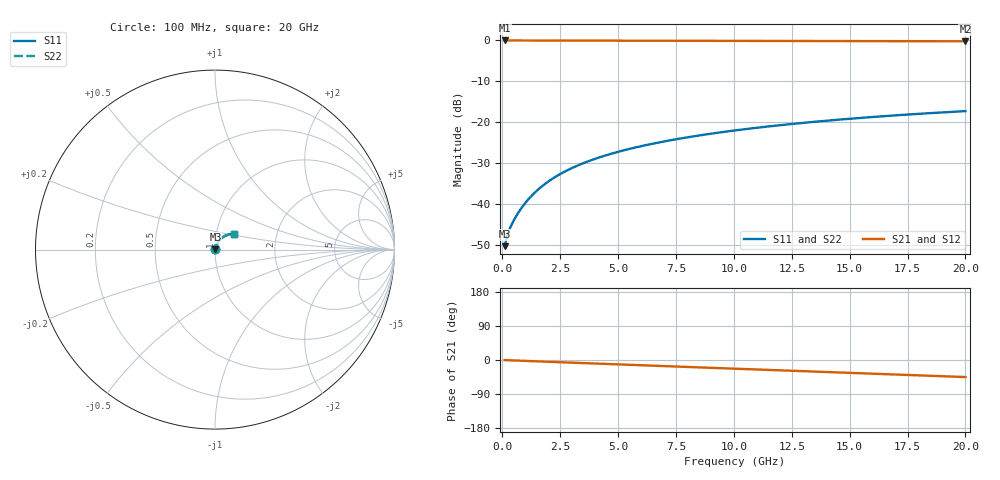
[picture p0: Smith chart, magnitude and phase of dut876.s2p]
! Touchstone file exported from HFSS 2026.1.0
!  File:  C:/ffzhzh/LocalFiles/Ansys_Project_Files/temp_train_TMRDL_876_1783157399_55132.aedt
!  Generated:  05:31:11 PM Jul  4, 2026
!  Design:  TMRDL
!  Project:  temp_train_TMRDL_876_1783157399_55132
! Variables:
!  h_bsmrdl = 2um
!  h_ox = 20um
!  h_rdl = 5um
!  h_sub = 80um
!  h_tmrdl = 4.53um
!  h_tsv = 80um
!  h_via = 3um
!  l_bsmrdl = 300um
!  l_sub = 1186.95um
!  l_tmrdl = 786.95um
!  m_sub = 200um
!  pitch = 34.5um
!  r_tsv = 6um
!  s_tmrdl = 10um
!  w_bsmrdl = 18um
!  w_sub = 500um
!  w_tmrdl = 25.77um
!  x_tsv_center1 = 799.835um
!  x_tsv_center2 = 1117.835um
!  x_tsv_center3 = 1930.555um
!  x_tsv_center4 = 2248.555um
!  x_tsv_center5 = 3061.275um
!  x_tsv_center6 = 3379.275um
# GHz S MA R 50.000000
! Terminal data exported
! Port[1] = TM_RDL1_1_T1
! Port[2] = TM_RDL1_1_T2
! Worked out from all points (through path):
!   200 points, 100 MHz to 20 GHz, reference 50 ohm
!   highest |S21| = -0.02 dB at 100 MHz (marker M1); lowest = -0.2 dB at 20 GHz (marker M2)
!   group delay of S21, straight-line fit = 6.23 ps
!   lowest |S11| = -50.4 dB at 100 MHz (marker M3), VSWR 1.01, Z = 50.3 + j0.14 ohm
!   |S11| at or under -10 dB: start of sweep to end of sweep
!   |S22| runs from -50.4 to -17.3 dB; largest |S21 - S12| = 3.7e-15
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0.1  0.003036 27.2  0.9973 -0.3  0.9973 -0.3  0.003036 27.2
! Gamma 0 0 0 0
! Port Impedance 50 0 50 0
0.2  0.003952 38.9  0.9969 -0.5  0.9969 -0.5  0.003952 38.9
0.3  0.004783 45.1  0.9967 -0.7  0.9967 -0.7  0.004783 45.1
0.4  0.00555 49.6  0.9965 -1.0  0.9965 -1.0  0.00555 49.6
0.5  0.006306 53.4  0.9963 -1.2  0.9963 -1.2  0.006306 53.4
0.8  0.008664 61.4  0.9961 -1.9  0.9961 -1.9  0.008665 61.4
1  0.01032 64.6  0.9959 -2.4  0.9959 -2.4  0.01032 64.6
1.2  0.01201 66.9  0.9958 -2.8  0.9958 -2.8  0.01201 66.9
1.4  0.01372 68.4  0.9956 -3.3  0.9956 -3.3  0.01372 68.4
1.7  0.0163 69.9  0.9953 -4.0  0.9953 -4.0  0.01631 69.8
2.2  0.0206 70.9  0.9948 -5.2  0.9948 -5.2  0.0206 70.9
2.8  0.02568 71.0  0.9941 -6.6  0.9941 -6.6  0.02568 70.9
3.5  0.03146 70.3  0.9932 -8.2  0.9932 -8.2  0.03146 70.3
4.2  0.03707 69.4  0.9923 -9.8  0.9923 -9.8  0.03707 69.3
5  0.0433 68.0  0.9913 -11.6  0.9913 -11.6  0.0433 68.0
5.9  0.05008 66.4  0.9901 -13.6  0.9901 -13.6  0.05008 66.4
6.8  0.05667 64.8  0.9889 -15.7  0.9889 -15.7  0.05667 64.7
8.3  0.06727 62.0  0.9871 -19.0  0.9871 -19.0  0.06727 61.9
10.1  0.07945 58.5  0.985 -23.1  0.985 -23.1  0.07945 58.4
13.4  0.1004 52.1  0.9813 -30.4  0.9813 -30.4  0.1004 51.9
16.7  0.1194 45.4  0.9778 -37.7  0.9778 -37.7  0.1194 45.3
20  0.1363 38.7  0.9744 -45.0  0.9744 -45.0  0.1363 38.5
